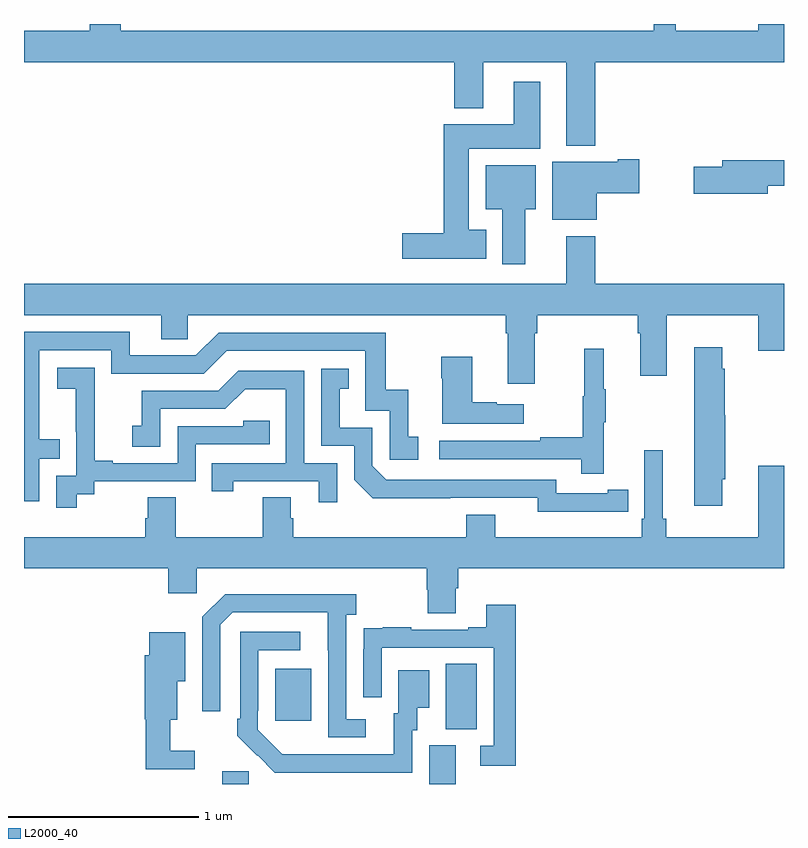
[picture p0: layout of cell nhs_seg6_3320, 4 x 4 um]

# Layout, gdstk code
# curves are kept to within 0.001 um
import gdstk
lib = gdstk.Library(unit=1e-6, precision=1e-09)
def R(c, l, rs):  # rectangles x0, y0, x1, y1
    for r in rs: c.add(gdstk.rectangle(r[:2], r[2:], *l))
def P(c, l, *ps):  # polygons
    for p in ps: c.add(gdstk.Polygon(p, *l))
L2000_40 = (2000, 40)

nhs_seg6_3320 = lib.new_cell('nhs_seg6_3320')
R(nhs_seg6_3320, L2000_40, [(306.044,979.5,306.183,979.566), (307.133,979.5,307.273,979.704), (307.22,979.789,307.384,980.132), (306.323,979.833,306.511,980.107)])
P(nhs_seg6_3320, L2000_40, [(308.006,983.3),(309,983.3),(309,983.5),(308.864,983.5),(308.864,983.464),(308.429,983.464),(308.429,983.5),(308.315,983.5),(308.315,983.464),(305.51,983.464),(305.51,983.5),(305.345,983.5),(305.345,983.464),(305,983.464),(305,983.3),(307.265,983.3),(307.265,983.057),(307.417,983.057),(307.417,983.3),(307.853,983.3),(307.853,982.859),(308.006,982.859)],
  [(307.432,982.417),(307.342,982.417),(307.342,982.844),(307.717,982.844),(307.717,983.197),(307.577,983.197),(307.577,982.972),(307.208,982.972),(307.208,982.4),(306.99,982.4),(306.99,982.265),(307.432,982.265)],
  [(308.014,982.609),(308.239,982.609),(308.239,982.787),(308.126,982.787),(308.126,982.774),(307.781,982.774),(307.781,982.469),(308.014,982.469)],
  [(308.914,982.648),(309,982.648),(309,982.784),(308.675,982.784),(308.675,982.748),(308.526,982.748),(308.526,982.606),(308.914,982.606)],
  [(307.639,982.526),(307.693,982.526),(307.693,982.756),(307.43,982.756),(307.43,982.526),(307.517,982.526),(307.517,982.236),(307.639,982.236)],
  [(307.687,981.872),(307.7,981.872),(307.7,981.968),(308.231,981.968),(308.231,981.872),(308.243,981.872),(308.243,981.648),(308.383,981.648),(308.383,981.968),(308.864,981.968),(308.864,981.78),(309,981.78),(309,982.132),(308.006,982.132),(308.006,982.384),(307.853,982.384),(307.853,982.132),(305,982.132),(305,981.968),(305.723,981.968),(305.723,981.841),(305.862,981.841),(305.862,981.968),(307.535,981.968),(307.535,981.872),(307.547,981.872),(307.547,981.606),(307.687,981.606)],
  [(305.079,981.213),(305.189,981.213),(305.189,981.314),(305.079,981.314),(305.079,981.783),(305.46,981.783),(305.46,981.66),(305.946,981.66),(306.066,981.78),(306.795,981.78),(306.795,981.465),(306.924,981.465),(306.924,981.207),(307.075,981.207),(307.075,981.327),(307.022,981.327),(307.022,981.574),(306.904,981.574),(306.904,981.876),(306.024,981.876),(305.904,981.756),(305.557,981.756),(305.557,981.879),(305,981.879),(305,980.988),(305.079,980.988)],
  [(308.674,981.105),(308.692,981.105),(308.692,981.441),(308.687,981.441),(308.687,981.686),(308.674,981.686),(308.674,981.799),(308.528,981.799),(308.528,980.964),(308.674,980.964)],
  [(308.051,981.403),(308.062,981.403),(308.062,981.577),(308.051,981.577),(308.051,981.79),(307.948,981.79),(307.948,981.54),(307.941,981.54),(307.941,981.326),(307.717,981.326),(307.717,981.306),(307.185,981.306),(307.185,981.21),(307.933,981.21),(307.933,981.132),(308.051,981.132)],
  [(307.63,981.499),(307.487,981.499),(307.487,981.509),(307.36,981.509),(307.36,981.748),(307.195,981.748),(307.195,981.635),(307.202,981.635),(307.202,981.395),(307.63,981.395)],
  [(305.278,981.025),(305.37,981.025),(305.37,981.093),(305.904,981.093),(305.904,981.288),(306.293,981.288),(306.293,981.411),(306.153,981.411),(306.153,981.384),(305.808,981.384),(305.808,981.189),(305.467,981.189),(305.467,981.202),(305.372,981.202),(305.372,981.485),(305.373,981.485),(305.373,981.691),(305.175,981.691),(305.175,981.581),(305.273,981.581),(305.273,981.353),(305.274,981.353),(305.274,981.123),(305.169,981.123),(305.169,980.955),(305.278,980.955)],
  [(308.072,980.934),(308.18,980.934),(308.18,981.05),(308.072,981.05),(308.072,981.03),(307.8,981.03),(307.8,981.102),(306.906,981.102),(306.834,981.174),(306.834,981.375),(306.661,981.375),(306.661,981.579),(306.71,981.579),(306.71,981.685),(306.564,981.685),(306.564,981.279),(306.738,981.279),(306.738,981.102),(306.836,981.005),(307.704,981.006),(307.704,980.933)],
  [(306.648,981.189),(306.474,981.189),(306.474,981.675),(306.128,981.675),(306.023,981.57),(305.62,981.57),(305.62,981.385),(305.571,981.385),(305.571,981.276),(305.718,981.276),(305.718,981.474),(306.06,981.474),(306.164,981.578),(306.378,981.578),(306.378,981.189),(305.989,981.189),(305.989,981.042),(306.1,981.042),(306.1,981.093),(306.551,981.093),(306.551,980.982),(306.648,980.982)],
  [(305.651,981.008),(305.651,980.898),(305.639,980.898),(305.639,980.8),(305,980.8),(305,980.636),(305.759,980.636),(305.759,980.505),(305.91,980.505),(305.91,980.636),(307.121,980.636),(307.121,980.523),(307.126,980.523),(307.126,980.398),(307.273,980.398),(307.273,980.53),(307.286,980.53),(307.286,980.636),(309,980.636),(309,981.175),(308.864,981.175),(308.864,980.8),(308.381,980.8),(308.381,980.896),(308.362,980.896),(308.362,981.256),(308.265,981.256),(308.265,980.896),(308.252,980.896),(308.252,980.8),(307.48,980.8),(307.48,980.917),(307.328,980.917),(307.328,980.8),(306.416,980.8),(306.416,980.898),(306.403,980.898),(306.403,981.008),(306.256,981.008),(306.256,980.8),(305.799,980.8),(305.799,981.008)],
  [(306.799,979.842),(306.696,979.842),(306.696,980.39),(306.748,980.39),(306.748,980.5),(306.058,980.5),(305.937,980.379),(305.937,979.884),(306.033,979.884),(306.033,980.337),(306.099,980.403),(306.599,980.403),(306.6,979.746),(306.799,979.746)],
  [(307.589,980.443),(307.433,980.443),(307.433,980.326),(307.337,980.326),(307.337,980.313),(307.037,980.313),(307.037,980.326),(306.889,980.326),(306.889,980.319),(306.787,980.319),(306.787,980.21),(306.786,980.21),(306.786,979.956),(306.882,979.956),(306.882,980.217),(307.473,980.217),(307.473,979.701),(307.401,979.701),(307.401,979.596),(307.589,979.596)],
  [(307.044,979.782),(307.069,979.782),(307.069,979.901),(307.132,979.901),(307.132,980.098),(306.971,980.098),(306.971,979.872),(306.947,979.872),(306.947,979.656),(306.36,979.657),(306.231,979.785),(306.231,979.885),(306.234,979.885),(306.234,980.205),(306.454,980.205),(306.454,980.301),(306.138,980.301),(306.138,979.843),(306.123,979.843),(306.123,979.755),(306.32,979.56),(307.044,979.56)],
  [(305.899,979.675),(305.77,979.675),(305.77,979.838),(305.806,979.838),(305.806,980.042),(305.848,980.042),(305.848,980.299),(305.66,980.299),(305.66,980.178),(305.636,980.178),(305.636,979.842),(305.641,979.842),(305.641,979.578),(305.899,979.578)])

lib.write_gds('nhs_seg6_3320.gds')
